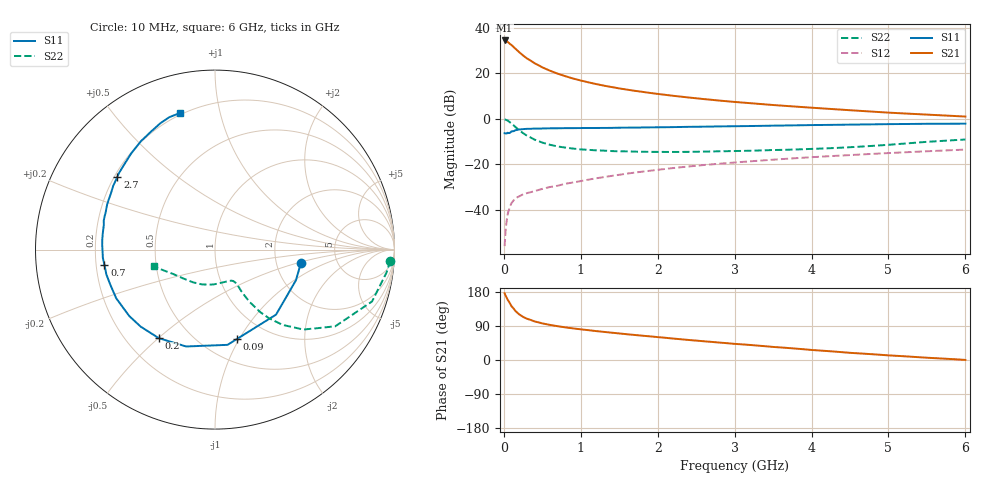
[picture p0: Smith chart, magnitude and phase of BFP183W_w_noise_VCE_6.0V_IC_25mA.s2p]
! (c) 2017  Infineon Technologies AG, Munich
! Infineon Technologies  Discrete & RF Semiconductors
! BFP183W
! VCE =  6.0 V,  IC =  25 mA
! Common Emitter S-Parameters:  Jan 2017
# GHz  S  MA  R  50
!  f  S11  S21  S12  S22
! GHz  MAG  ANG  MAG  ANG  MAG  ANG  MAG  ANG
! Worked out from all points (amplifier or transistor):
!   77 points, 10 MHz to 6 GHz, reference 50 ohm
!   highest |S21| = 34.5 dB at 10 MHz (marker M1)
!   |S21| within 3 dB of that: start of sweep to 130.9 MHz
!   unconditionally stable (mu >= 1): 1.076 GHz to 3.48 GHz
!   at 130 MHz: K = 0.26, MSG = 33.6 dB, |S12| = -35.7 dB
!   at 2.2 GHz: K = 1.06, MAG = 14.4 dB, |S12| = -21.6 dB
!   at 6 GHz: K = 0.87, MSG = 7.3 dB, |S12| = -13.5 dB
!   lowest NFmin = 1.29 dB at 450 MHz
!   S11 on the Smith chart (normalised r, x): 10 MHz: 2.76, -0.54; 90 MHz: 0.73, -0.98; 200 MHz: 0.33, -0.50; 700 MHz: 0.23, -0.07; 2.7 GHz: 0.21, +0.32; 6 GHz: 0.19, +0.76
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0.01  0.4844 -8.9  52.82 175.9  0.0016 91.5  0.9781 -3.6
0.02  0.4823 -20.7  52.17 171.0  0.003 93.8  0.9648 -7.5
0.05  0.4969 -46.8  49.08 158.9  0.0081 74.0  0.9213 -18.3
0.09  0.5122 -76.0  43.03 145.6  0.013 65.5  0.8152 -29.4
0.1  0.5353 -82.5  41.94 141.8  0.0142 64.3  0.7942 -32.6
0.15  0.5632 -106.6  34.93 129.5  0.018 54.2  0.6644 -42.1
0.2  0.5843 -122.4  29.14 120.4  0.0199 50.0  0.5635 -48.1
0.25  0.5963 -133.9  24.76 113.8  0.0221 46.7  0.4865 -51.8
0.3  0.6043 -142.2  21.33 108.9  0.0234 46.6  0.428 -54.2
0.4  0.6136 -153.8  16.67 101.7  0.0259 47.6  0.3498 -56.5
0.5  0.6152 -161.5  13.56 96.6  0.029 48.9  0.3015 -57.3
0.6  0.621 -167.2  11.44 92.6  0.0319 50.4  0.2699 -57.7
0.7  0.6218 -172.1  9.846 89.2  0.034 53.4  0.2478 -57.6
0.9  0.6266 -179.5  7.7 83.4  0.0401 56.0  0.2228 -58.1
1.1  0.6305 174.8  6.347 78.7  0.0463 58.3  0.2089 -59.0
1.5  0.6404 165.4  4.675 70.1  0.0592 59.7  0.1939 -63.2
2.1  0.6562 153.3  3.375 58.6  0.0796 59.8  0.1881 -74.7
2.7  0.679 143.2  2.624 47.8  0.1002 58.0  0.1925 -90.0
3.1  0.6931 136.9  2.286 41.2  0.1135 56.1  0.1981 -100.4
4.1  0.7341 123.2  1.717 25.1  0.1472 50.6  0.2221 -126.6
5.1  0.7693 112.5  1.345 11.1  0.1808 44.6  0.2777 -151.7
6  0.7856 104.5  1.126 0.2  0.2118 38.6  0.3528 -164.8
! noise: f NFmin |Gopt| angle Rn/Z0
0.45  1.29  0.25  177  0.1
0.9  1.32  0.28  180  0.09
1.9  1.8  0.43  -158  0.09
2.4  2.04  0.48  -154  0.13
